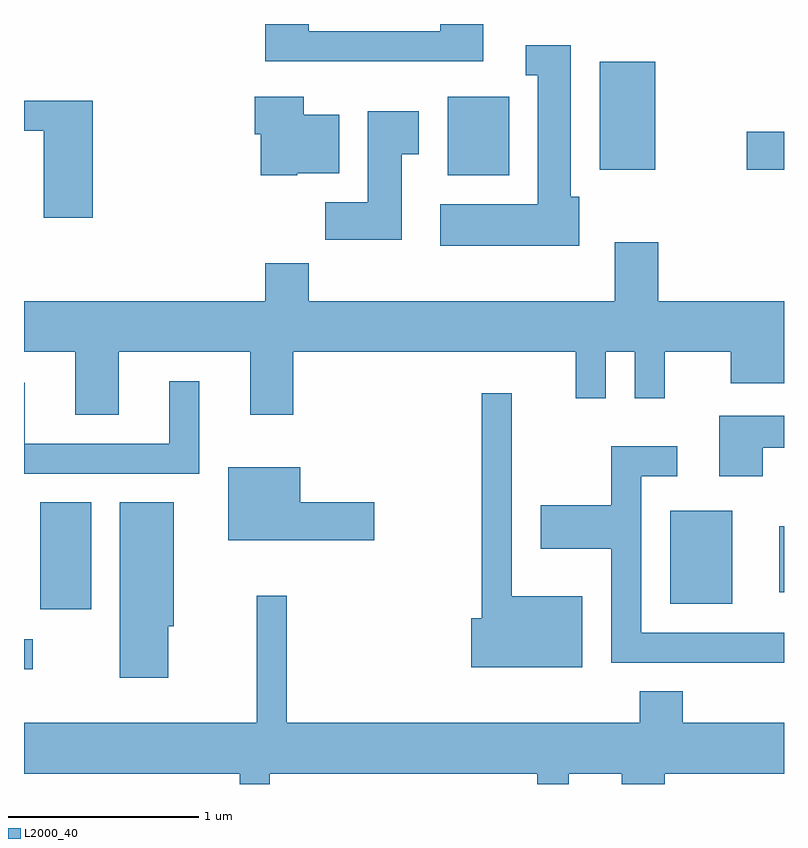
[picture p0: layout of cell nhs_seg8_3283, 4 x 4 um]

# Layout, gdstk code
import gdstk
lib = gdstk.Library(unit=1e-6, precision=1e-09)
def R(c, l, rs):  # rectangles x0, y0, x1, y1
    for r in rs: c.add(gdstk.rectangle(r[:2], r[2:], *l))
def P(c, l, *ps):  # polygons
    for p in ps: c.add(gdstk.Polygon(p, *l))
L2000_40 = (2000, 40)

nhs_seg8_3283 = lib.new_cell('nhs_seg8_3283')
R(nhs_seg8_3283, L2000_40, [(283.611,1856.946,283.658,1857.104), (283.696,1857.261,283.964,1857.824), (287.011,1857.291,287.339,1857.779), (287.586,1857.351,287.611,1857.698), (285.841,1859.546,286.164,1859.959), (286.641,1859.576,286.934,1860.144), (287.416,1859.576,287.611,1859.774)])
P(nhs_seg8_3283, L2000_40, [(286.029,1860.342),(285.801,1860.342),(285.801,1860.304),(285.109,1860.304),(285.109,1860.342),(284.881,1860.342),(284.881,1860.146),(286.029,1860.146)],
  [(286.534,1859.434),(286.489,1859.434),(286.489,1860.229),(286.253,1860.229),(286.253,1860.071),(286.316,1860.071),(286.316,1859.394),(285.801,1859.394),(285.801,1859.176),(286.534,1859.176)],
  [(285.05,1859.556),(285.269,1859.556),(285.269,1859.864),(285.084,1859.864),(285.084,1859.959),(284.826,1859.959),(284.826,1859.761),(284.856,1859.761),(284.856,1859.546),(285.05,1859.546)],
  [(283.974,1859.939),(283.611,1859.939),(283.611,1859.781),(283.716,1859.781),(283.716,1859.321),(283.974,1859.321)],
  [(285.599,1859.656),(285.689,1859.656),(285.689,1859.884),(285.421,1859.884),(285.421,1859.404),(285.196,1859.404),(285.196,1859.206),(285.599,1859.206)],
  [(284.109,1858.616),(284.801,1858.616),(284.801,1858.286),(285.029,1858.286),(285.029,1858.616),(286.516,1858.616),(286.516,1858.373),(286.674,1858.373),(286.674,1858.616),(286.826,1858.616),(286.826,1858.373),(286.984,1858.373),(286.984,1858.616),(287.331,1858.616),(287.331,1858.451),(287.611,1858.451),(287.611,1858.884),(286.949,1858.884),(286.949,1859.194),(286.721,1859.194),(286.721,1858.884),(285.109,1858.884),(285.109,1859.084),(284.881,1859.084),(284.881,1858.884),(283.611,1858.884),(283.611,1858.616),(283.881,1858.616),(283.881,1858.286),(284.109,1858.286)],
  [(284.534,1858.463),(284.376,1858.463),(284.376,1858.134),(283.614,1858.134),(283.614,1858.454),(283.611,1858.454),(283.611,1857.976),(284.534,1857.976)],
  [(286.549,1857.329),(286.179,1857.329),(286.179,1858.398),(286.021,1858.398),(286.021,1857.214),(285.966,1857.214),(285.966,1856.956),(286.549,1856.956)],
  [(287.499,1858.111),(287.611,1858.111),(287.611,1858.279),(287.271,1858.279),(287.271,1857.961),(287.499,1857.961)],
  [(287.611,1857.139),(286.859,1857.139),(286.859,1857.961),(287.048,1857.961),(287.048,1858.119),(286.701,1858.119),(286.701,1857.809),(286.331,1857.809),(286.331,1857.581),(286.701,1857.581),(286.701,1856.981),(287.611,1856.981)],
  [(285.454,1857.824),(285.064,1857.824),(285.064,1858.009),(284.686,1858.009),(284.686,1857.626),(285.454,1857.626)],
  [(284.369,1857.171),(284.399,1857.171),(284.399,1857.824),(284.116,1857.824),(284.116,1856.901),(284.369,1856.901)],
  [(284.904,1856.396),(286.311,1856.396),(286.311,1856.342),(286.479,1856.342),(286.479,1856.396),(286.756,1856.396),(286.756,1856.342),(286.984,1856.342),(286.984,1856.396),(287.611,1856.396),(287.611,1856.664),(287.079,1856.664),(287.079,1856.829),(286.851,1856.829),(286.851,1856.664),(284.994,1856.664),(284.994,1857.333),(284.836,1857.333),(284.836,1856.664),(283.611,1856.664),(283.611,1856.396),(284.746,1856.396),(284.746,1856.342),(284.904,1856.342)])

lib.write_gds('nhs_seg8_3283.gds')
